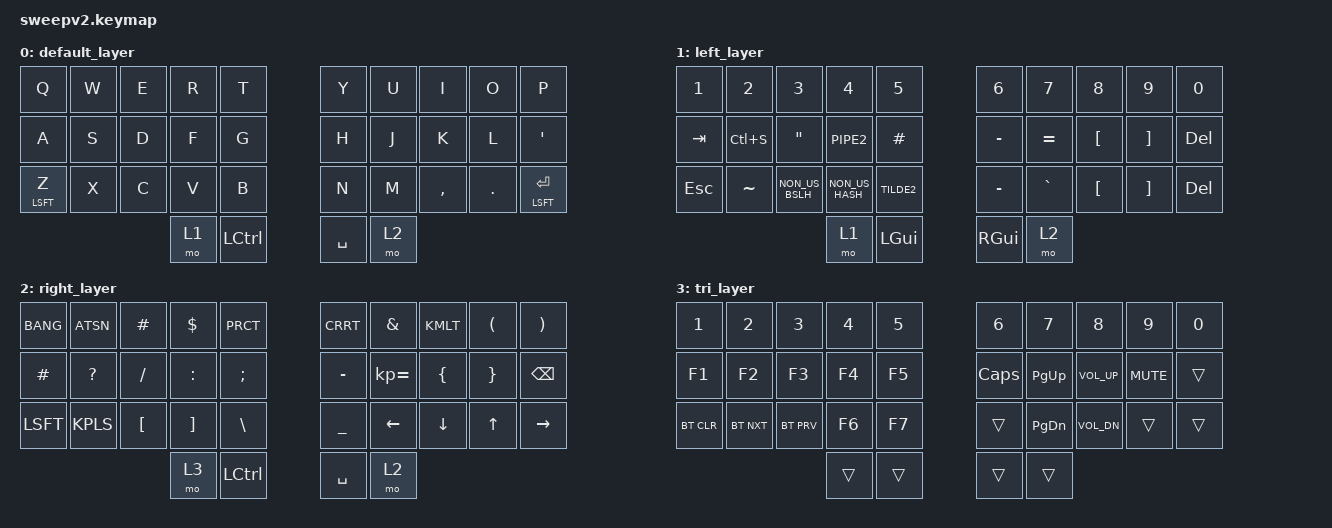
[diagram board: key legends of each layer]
/*
 * Copyright (c) 2020 The ZMK Contributors
 *
 * SPDX-License-Identifier: MIT
 */

#include <behaviors.dtsi>
#include <dt-bindings/zmk/keys.h>
#include <dt-bindings/zmk/bt.h>

&mt {
        flavor = "tap-preferred";
        /* tapping_term_ms = <150>; */
};

/ {
        combos {
                compatible = "zmk,combos";

                combo_esc {
                        timeout-ms = <50>;
                        key-positions = <0 1>;
                        bindings = <&kp ESC> ;
                };

                combo_tab {
                        timeout-ms = <50>;
                        key-positions = <10 11>;
                        bindings = <&kp TAB>;
                };

                combo_lalt {
                        timeout-ms = <50>;
                        key-positions = <13 14>;
                        bindings = <&kp LALT>;
                };

                combo_lgui {
                        timeout-ms = <50>;
                        key-positions = <11 12 >;
                        bindings = <&kp LGUI>;
                };

                combo_ralt {
                        timeout-ms = <50>;
                        key-positions = <15 16>;
                        bindings = <&kp RALT>;
                };

                combo_rgui {
                        timeout-ms = <50>;
                        key-positions = <17 18>;
                        bindings = <&kp RGUI>;
                };

                combo_del {
                        timeout-ms = <50>;
                        key-positions = <8 9>;
                        bindings = <&kp BKSP>;
                };
        };

        keymap {
                compatible = "zmk,keymap";
                default_layer {
                        bindings = <
                                &kp Q      &kp W      &kp E           &kp R           &kp T            &kp Y     &kp U        &kp I        &kp O      &kp P
                                &kp A      &kp S      &kp D           &kp F           &kp G            &kp H     &kp J        &kp K        &kp L      &kp QUOT
                                &mt LSFT Z &kp X      &kp C           &kp V           &kp B            &kp N     &kp M        &kp COMMA    &kp DOT    &mt LSFT RET
                                                                      &mo 1           &kp LCTL         &kp SPC   &mo 2
                        >;
                };

                left_layer {
                        bindings = <
                                &kp NUM_1  &kp NUM_2  &kp NUM_3       &kp NUM_4       &kp NUM_5        &kp NUM_6 &kp NUM_7    &kp NUM_8    &kp NUM_9  &kp NUM_0
                                &kp TAB    &kp LC(S)  &kp DQT         &kp PIPE2       &kp HASH         &kp MINUS &kp EQL      &kp LBKT     &kp RBKT   &kp DEL
                                &kp ESC    &kp TILDE  &kp NON_US_BSLH &kp NON_US_HASH &kp TILDE2       &kp MINUS &kp GRAVE    &kp LBKT     &kp RBKT   &kp DEL
                                                                      &mo 1           &kp LGUI         &kp RGUI  &mo 2
                        >;
                };

                right_layer {
                        bindings = <
                                &kp BANG   &kp ATSN   &kp HASH        &kp DLLR        &kp PRCT        &kp CRRT   &kp AMPS     &kp KMLT     &kp LPRN   &kp RPRN
                                &kp HASH   &kp QMARK  &kp FSLH        &kp COLN        &kp SCLN        &kp MINUS  &kp KP_EQUAL &kp LBRC     &kp RBRC   &kp BKSP
                                &kp LSFT   &kp KPLS   &kp LBKT        &kp RBKT        &kp BSLH        &kp UNDER  &kp LEFT     &kp DOWN     &kp UP     &kp RIGHT
                                                                      &mo 3           &kp LCTL        &kp SPC    &mo 2
                        >;
                };

                tri_layer {
                        bindings = <
                                &kp NUM_1  &kp NUM_2  &kp NUM_3       &kp NUM_4       &kp NUM_5       &kp NUM_6  &kp NUM_7    &kp NUM_8    &kp NUM_9  &kp NUM_0
                                &kp F1     &kp F2     &kp F3          &kp F4          &kp F5          &kp CAPS   &kp PG_UP    &kp K_VOL_UP &kp K_MUTE &trans
                                &bt BT_CLR &bt BT_NXT &bt BT_PRV      &kp F6          &kp F7          &trans     &kp PG_DN    &kp K_VOL_DN &trans     &trans
                                                                      &trans          &trans          &trans     &trans
                        >;
                };
        };
};

// vim: filetype=dts

